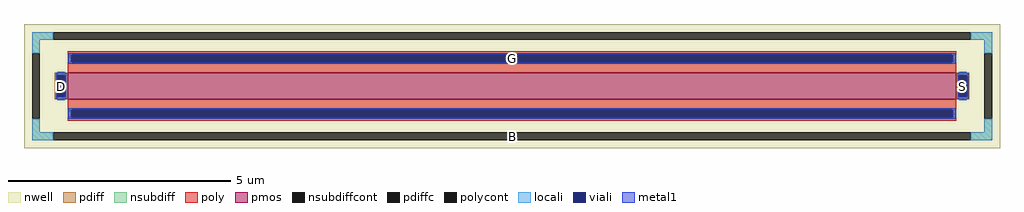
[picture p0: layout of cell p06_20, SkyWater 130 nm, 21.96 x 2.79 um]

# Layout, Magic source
magic
tech sky130A
magscale 1 2
<< nwell >>
rect -2196 -279 2196 279
<< pmos >>
rect -2000 -60 2000 60
<< pdiff >>
rect -2058 48 -2000 60
rect -2058 -48 -2046 48
rect -2012 -48 -2000 48
rect -2058 -60 -2000 -48
rect 2000 48 2058 60
rect 2000 -48 2012 48
rect 2046 -48 2058 48
rect 2000 -60 2058 -48
<< pdiffc >>
rect -2046 -48 -2012 48
rect 2012 -48 2046 48
<< nsubdiff >>
rect -2160 209 -2064 243
rect 2064 209 2160 243
rect -2160 147 -2126 209
rect 2126 147 2160 209
rect -2160 -209 -2126 -147
rect 2126 -209 2160 -147
rect -2160 -243 -2064 -209
rect 2064 -243 2160 -209
<< nsubdiffcont >>
rect -2064 209 2064 243
rect -2160 -147 -2126 147
rect 2126 -147 2160 147
rect -2064 -243 2064 -209
<< poly >>
rect -2000 141 2000 157
rect -2000 107 -1984 141
rect 1984 107 2000 141
rect -2000 60 2000 107
rect -2000 -107 2000 -60
rect -2000 -141 -1984 -107
rect 1984 -141 2000 -107
rect -2000 -157 2000 -141
<< polycont >>
rect -1984 107 1984 141
rect -1984 -141 1984 -107
<< locali >>
rect -2160 209 -2064 243
rect 2064 209 2160 243
rect -2160 147 -2126 209
rect 2126 147 2160 209
rect -2000 107 -1984 141
rect 1984 107 2000 141
rect -2046 48 -2012 64
rect -2046 -64 -2012 -48
rect 2012 48 2046 64
rect 2012 -64 2046 -48
rect -2000 -141 -1984 -107
rect 1984 -141 2000 -107
rect -2160 -209 -2126 -147
rect 2126 -209 2160 -147
rect -2160 -243 -2064 -209
rect 2064 -243 2160 -209
<< viali >>
rect -1984 107 1984 141
rect -2046 -48 -2012 48
rect 2012 -48 2046 48
rect -1984 -141 1984 -107
<< metal1 >>
rect -1996 141 1996 147
rect -1996 107 -1984 141
rect 1984 107 1996 141
rect -1996 101 1996 107
rect -2052 48 -2006 60
rect -2052 -48 -2046 48
rect -2012 -48 -2006 48
rect -2052 -60 -2006 -48
rect 2006 48 2052 60
rect 2006 -48 2012 48
rect 2046 -48 2052 48
rect 2006 -60 2052 -48
rect -1996 -107 1996 -101
rect -1996 -141 -1984 -107
rect 1984 -141 1996 -107
rect -1996 -147 1996 -141
<< labels >>
rlabel nsubdiffcont 0 -226 0 -226 0 B
port 1 nsew
rlabel pdiffc -2029 0 -2029 0 0 D
port 2 nsew
rlabel pdiffc 2029 0 2029 0 0 S
port 3 nsew
rlabel polycont 0 124 0 124 0 G
port 4 nsew
<< properties >>
string FIXED_BBOX -2143 -226 2143 226
string gencell sky130_fd_pr__pfet_01v8
string library sky130
string parameters w 0.6 l 20 m 1 nf 1 diffcov 100 polycov 100 guard 1 glc 1 grc 1 gtc 1 gbc 1 tbcov 100 rlcov 100 topc 1 botc 1 poverlap 0 doverlap 1 lmin 0.15 wmin 0.42 class mosfet compatible {sky130_fd_pr__pfet_01v8  sky130_fd_pr__pfet_01v8_lvt sky130_fd_pr__pfet_01v8_hvt  sky130_fd_pr__pfet_g5v0d10v5} full_metal 1 conn_gates 0 viasrc 100 viadrn 100 viagate 100 viagb 0 viagr 0 viagl 0 viagt 0 doports 1
<< end >>
